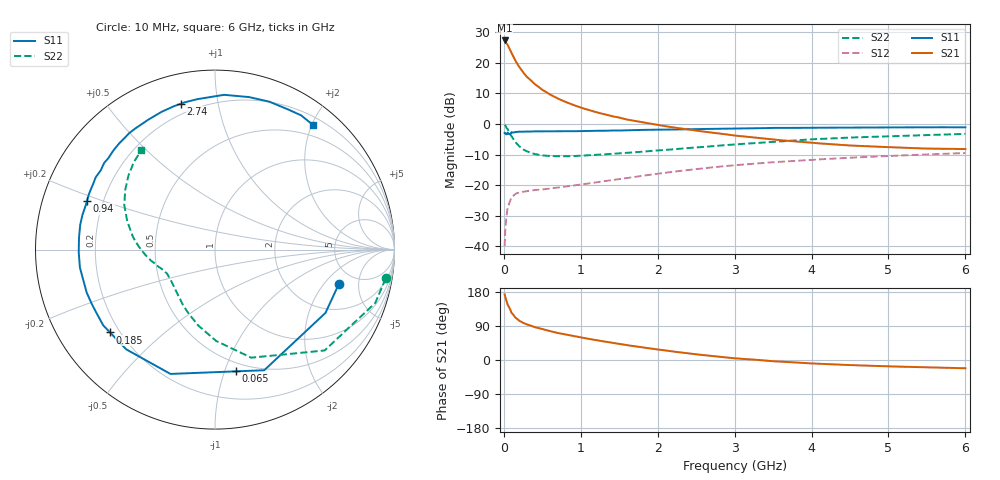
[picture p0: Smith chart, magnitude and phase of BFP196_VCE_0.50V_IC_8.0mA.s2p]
! Infineon Technologies  Discrete & RF Semiconductors
! BFP196
! VCE = 0.50V,  IC = 8.0mA
! Common Emitter S-Parameters:  Jan 2016
# GHz  S  MA  R  50
!  f  S11  S21  S12  S22
! GHz  MAG  ANG  MAG  ANG  MAG  ANG  MAG  ANG
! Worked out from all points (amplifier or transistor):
!   210 points, 10 MHz to 6 GHz, reference 50 ohm
!   highest |S21| = 27.3 dB at 10 MHz (marker M1)
!   |S21| within 3 dB of that: start of sweep to 78.55 MHz
!   unconditionally stable (mu >= 1): 868.7 MHz to end of sweep
!   at 185 MHz: K = 0.28, MSG = 20.9 dB, |S12| = -22.5 dB
!   at 1.52 GHz: K = 1.21, MAG = 7.2 dB, |S12| = -17.9 dB
!   at 6 GHz: K = 1.06, MAG = -0.8 dB, |S12| = -9.5 dB
!   S11 on the Smith chart (normalised r, x): 10 MHz: 3.65, -2.89; 65 MHz: 0.42, -1.09; 185 MHz: 0.16, -0.34; 940 MHz: 0.14, +0.18; 2.74 GHz: 0.15, +0.78; 6 GHz: 0.32, +2.03
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0.01  0.716 -15.6  23.19 173.2  0.0101 83.0  0.9644 -9.6
0.02  0.7094 -29.8  22.2 164.8  0.0198 76.8  0.9411 -18.4
0.05  0.726 -67.8  19.65 145.7  0.0432 58.3  0.8301 -42.6
0.065  0.6885 -80.2  17.88 140.6  0.0488 51.5  0.7535 -49.6
0.1  0.7358 -109.7  14.5 124.4  0.0638 40.8  0.6351 -71.5
0.15  0.744 -131.7  10.82 111.8  0.0724 32.2  0.5089 -89.3
0.185  0.745 -141.7  9.238 106.5  0.075 28.9  0.4533 -98.0
0.2  0.7523 -145.9  8.589 103.6  0.0762 27.5  0.4333 -102.4
0.26  0.7504 -156.6  6.757 97.1  0.0786 24.9  0.3791 -113.9
0.3  0.7539 -161.5  5.893 93.6  0.0803 24.1  0.3579 -119.7
0.4  0.7593 -172.4  4.508 86.8  0.0834 23.4  0.3233 -130.6
0.5  0.7594 -178.9  3.625 81.4  0.0852 24.0  0.3073 -138.3
0.6  0.7607 174.9  3.035 76.2  0.0881 25.2  0.3002 -143.6
0.94  0.7632 159.1  1.972 62.1  0.1002 29.4  0.3007 -154.2
1.02  0.7677 155.6  1.824 59.0  0.1034 30.1  0.3046 -155.9
1.4  0.7838 142.0  1.347 45.9  0.1208 33.1  0.3252 -162.3
2.02  0.808 122.7  0.953 27.3  0.1554 33.8  0.371 -172.4
2.74  0.8348 103.1  0.716 9.9  0.1975 29.4  0.4377 175.4
3.1  0.8458 94.6  0.63 3.1  0.2171 25.7  0.4729 169.0
4.1  0.8709 75.9  0.483 -9.9  0.2644 15.2  0.5694 152.4
5.1  0.8809 62.2  0.415 -17.3  0.3042 4.6  0.6388 138.3
6  0.8834 51.6  0.39 -21.8  0.3357 -5.5  0.689 126.6
